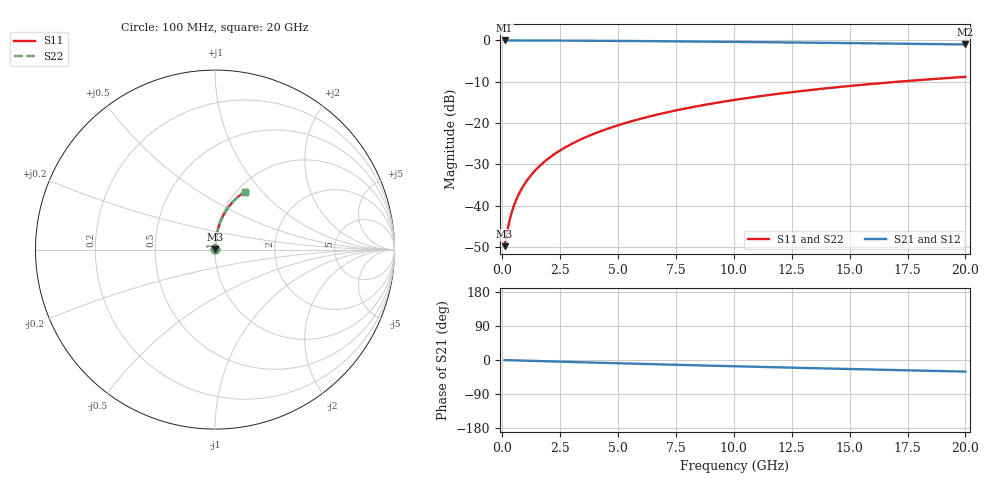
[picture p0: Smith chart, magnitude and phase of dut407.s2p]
! Touchstone file exported from HFSS 2024.1.0
!  File:  C:/UserFiles/LocalFiles/RDL_TSV_Batchsim/temp_RDL_bottom_407_1779683140.aedt
!  Generated:  12:28:22 PM May 25, 2026
!  Design:  RDL_bottom
!  Project:  temp_RDL_bottom_407_1779683140
!  Setup:  Setup1
!  Solution:  Sweep
! Variables:
!  dtsv = 10.80580581um
!  hbump = 3um
!  htsv = 64.82um
!  ldown = 354.11um
!  lrdl = 100um
!  p = 40
!  p1 = 57.58um
!  rhole = 1um
!  t = 450um
!  tdown = 3.14um
!  trdl = 3.915915916um
!  wdown = 16.73um
!  wrdl = 20um
# GHz S MA R 50.000000
! Terminal data exported
! Port[1] = RDL1_T1
! Port[2] = RDL1_T2
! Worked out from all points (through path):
!   200 points, 100 MHz to 20 GHz, reference 50 ohm
!   highest |S21| = -0.02 dB at 100 MHz (marker M1); lowest = -1.0 dB at 20 GHz (marker M2)
!   group delay of S21, straight-line fit = 4.24 ps
!   lowest |S11| = -49.8 dB at 100 MHz (marker M3), VSWR 1.01, Z = 50.3 + j0.195 ohm
!   |S11| at or under -10 dB: start of sweep to 17.12 GHz
!   |S22| runs from -49.8 to -8.8 dB; largest |S21 - S12| = 3.8e-15
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0.1  0.003222 37.0  0.9974 -0.2  0.9974 -0.2  0.003222 37.0
! Gamma 0 0 0 0
! Port Impedance 50 0 50 0
0.2  0.004673 55.7  0.9974 -0.4  0.9974 -0.4  0.004673 55.7
0.3  0.006363 64.8  0.9973 -0.5  0.9973 -0.5  0.006363 64.8
0.4  0.008123 69.8  0.9972 -0.7  0.9972 -0.7  0.008123 69.8
0.5  0.009905 73.1  0.9971 -0.9  0.9971 -0.9  0.009905 73.1
0.6  0.0117 75.3  0.9969 -1.1  0.9969 -1.1  0.0117 75.3
0.8  0.0153 78.2  0.9967 -1.4  0.9967 -1.4  0.0153 78.2
1.1  0.02074 80.7  0.9963 -1.9  0.9963 -1.9  0.02074 80.7
1.5  0.02805 82.4  0.9957 -2.6  0.9957 -2.6  0.02805 82.4
1.8  0.03357 83.1  0.9952 -3.2  0.9952 -3.2  0.03357 83.1
2.1  0.03911 83.5  0.9946 -3.7  0.9946 -3.7  0.03911 83.5
2.7  0.05027 83.9  0.9931 -4.7  0.9931 -4.7  0.05027 83.9
3.5  0.06529 83.8  0.9907 -6.1  0.9907 -6.1  0.06528 83.8
4.2  0.07853 83.5  0.9882 -7.3  0.9882 -7.3  0.07853 83.5
5  0.09378 82.9  0.985 -8.6  0.985 -8.6  0.09378 82.9
5.9  0.111 82.0  0.9809 -10.1  0.9809 -10.1  0.111 82.0
6.8  0.1284 81.0  0.9765 -11.5  0.9765 -11.5  0.1284 81.0
8.4  0.1591 79.0  0.9679 -14.1  0.9679 -14.1  0.1591 79.0
10.1  0.1915 76.7  0.9581 -16.7  0.9581 -16.7  0.1914 76.7
13.4  0.2522 72.0  0.9374 -21.5  0.9374 -21.5  0.2522 72.0
16.7  0.3093 67.3  0.9152 -26.2  0.9152 -26.2  0.3092 67.3
20  0.3618 62.8  0.8919 -30.6  0.8919 -30.6  0.3618 62.8
